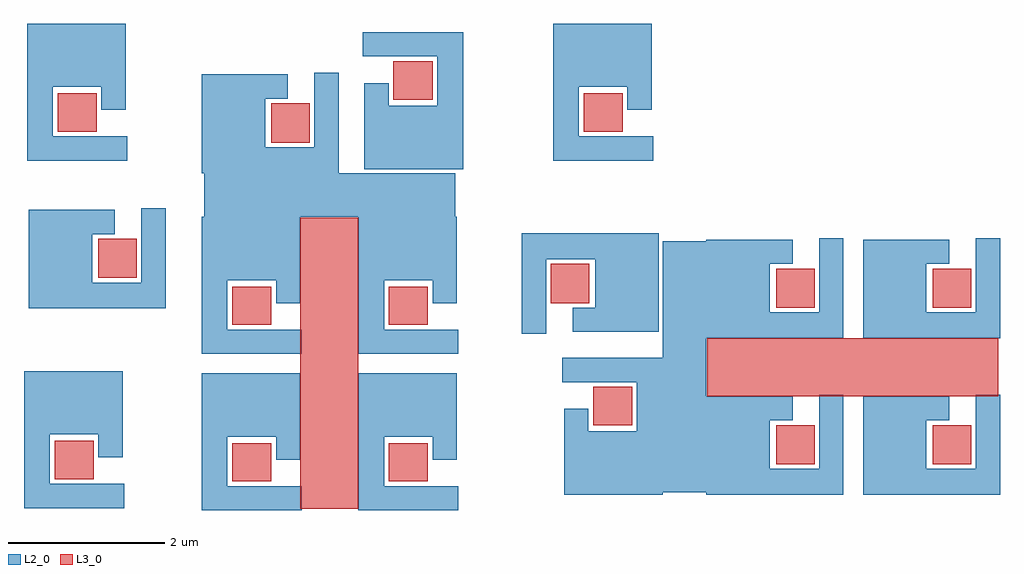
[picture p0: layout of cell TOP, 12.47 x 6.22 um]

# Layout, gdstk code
from math import pi, radians
import gdstk
lib = gdstk.Library(unit=1e-6, precision=1e-09)
def R(c, l, rs):  # rectangles x0, y0, x1, y1
    for r in rs: c.add(gdstk.rectangle(r[:2], r[2:], *l))
def P(c, l, *ps):  # polygons
    for p in ps: c.add(gdstk.Polygon(p, *l))
L2_0 = (2, 0)
L3_0 = (3, 0)

c_b = lib.new_cell('B')
R(c_b, L3_0, [(0,0,0.5,0.49)])

c_a = lib.new_cell('A')
P(c_a, L2_0, [(0.01,-0.01),(0.01,1.74),(1.27,1.74),(1.27,0.64),(0.96,0.64),(0.96,0.93),(0.34,0.93),(0.34,0.3),(1.29,0.3),(1.29,-0.01)])
c_a.add(gdstk.Reference(c_b, (0.4,0.36)))

avar = lib.new_cell('AVAR')
P(avar, L2_0, [(0.01,-0.01),(0.01,1.74),(1.27,1.74),(1.27,0.64),(0.96,0.64),(0.96,0.93),(0.34,0.93),(0.34,0.3),(1.29,0.3),(1.29,-0.01)])
avar.add(gdstk.Reference(c_b, (0.4,0.36)))

special = lib.new_cell('SPECIAL')
R(special, L2_0, [(0.05,3.76,3.26,4.32)])
R(special, L3_0, [(1.28,0.03,2.02,3.75)])
r = gdstk.Reference(c_a, (0.01,0.02)); r.repetition = gdstk.Repetition(2, 2, v1=(2,0), v2=(0,2)); special.add(r)
special.add(gdstk.Reference(c_a, (1.76,4.31), rotation=pi/2))
special.add(gdstk.Reference(avar, (3.37,6.11), rotation=pi))

c_x = lib.new_cell('X')
c_x.add(gdstk.Reference(special, (6.12,-0.02), rotation=pi/2))
c_x.add(gdstk.Reference(c_a, (0.39,4.28)))

top = lib.new_cell('TOP')
top.add(gdstk.Reference(c_a, (-0.01,0.01)))
top.add(gdstk.Reference(c_a, (1.8,2.54), rotation=pi/2))
top.add(gdstk.Reference(special, (2.25,-0.04)))
top.add(gdstk.Reference(c_a, (0.03,4.45)))
top.add(gdstk.Reference(c_x, (6.36,0.17)))

lib.write_gds('TOP.gds')
